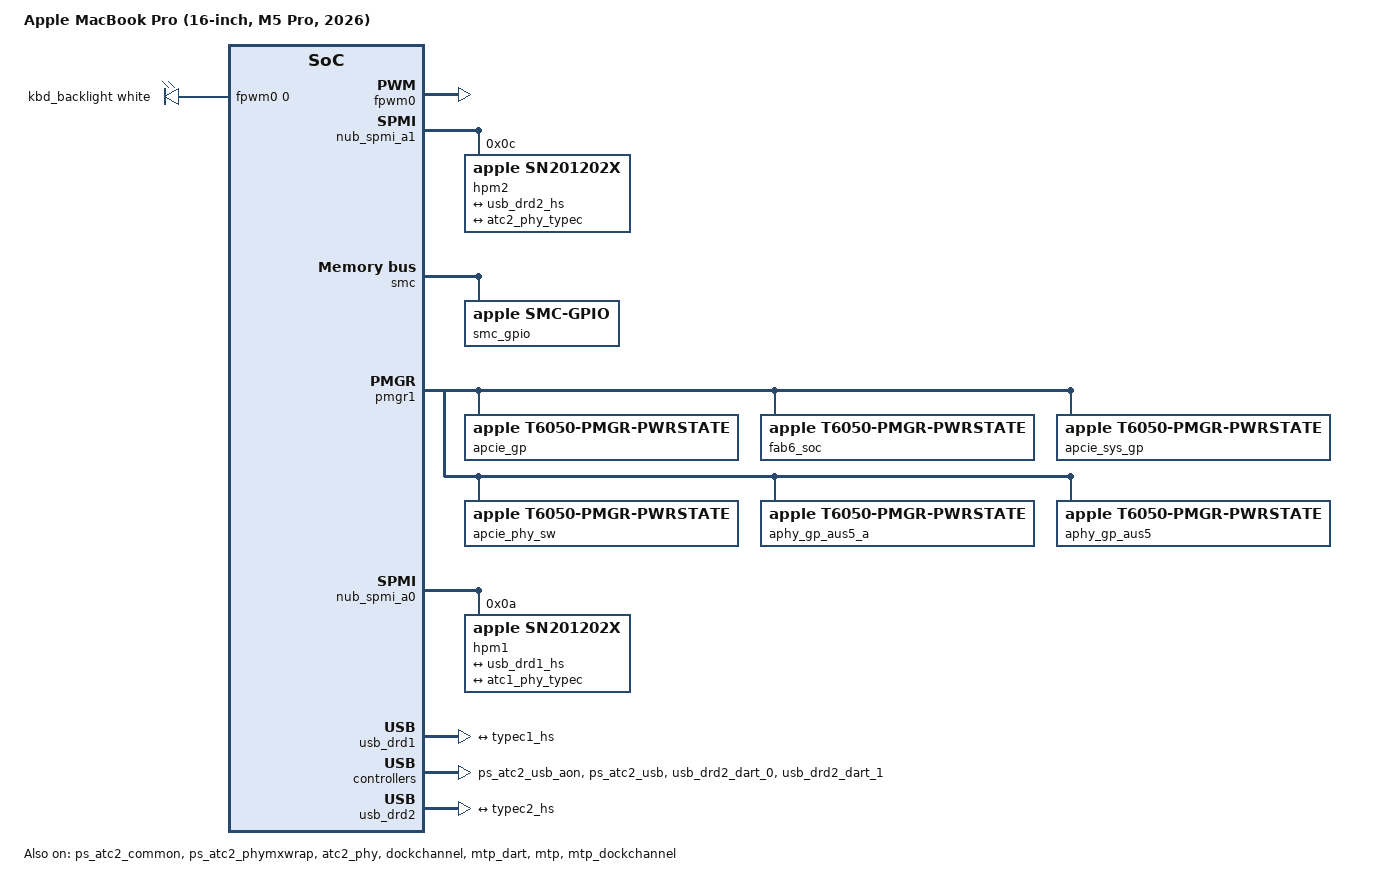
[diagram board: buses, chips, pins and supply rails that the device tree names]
// SPDX-License-Identifier: GPL-2.0+ OR MIT
/*
 * MacBook Pro (16-inch, M5 Pro, 2026)
 *
 * target-type: J716s (Mac17,8)
 *
 * The M5 Pro is one T6050 die, die 0 (t6050-max.dtsi), as on the J716c. The
 * ADT lists all 18 CPUs in the order t6050-max.dtsi uses; the boot loader
 * removes any core it did not start. This file enables and configures what
 * has been brought up on this board; the SoC's other ports and buses stay
 * disabled until each is described for it.
 *
 * Copyright The Asahi Linux Contributors
 */

/dts-v1/;

#include <dt-bindings/leds/common.h>
#include "t6050-max.dtsi"

/ {
	compatible = "apple,j716s", "apple,t6050", "apple,arm-platform";
	model = "Apple MacBook Pro (16-inch, M5 Pro, 2026)";
	chassis-type = "laptop";

	aliases {
		serial0 = &dockchannel;
		/* The loader fills the N1's factory addresses through these */
		wifi0 = &n1_alpha;
		bluetooth0 = &n1_beta;
		/* The loader fills the keyboard layout from the ADT's keyboard node */
		keyboard = &keyboard;
	};

	chosen {
		#address-cells = <2>;
		#size-cells = <2>;
		ranges;

		framebuffer0: framebuffer@0 {
			compatible = "apple,simple-framebuffer", "simple-framebuffer";
			reg = <0 0 0 0>; /* To be filled by the loader */
			/* Format properties will be added by the loader */
			status = "disabled";
		};
	};

	/* Keyboard backlight: ADT pwm0/kbd-backlight, channel 0 at 25 kHz */
	led-controller {
		compatible = "pwm-leds";

		led-0 {
			pwms = <&fpwm0 0 40000>;
			label = "kbd_backlight";
			function = LED_FUNCTION_KBD_BACKLIGHT;
			color = <LED_COLOR_ID_WHITE>;
			max-brightness = <255>;
			default-state = "keep";
		};
	};
};

/* The keyboard backlight PWM (ADT pwm0) */
&fpwm0 {
	status = "okay";
};

/* A block t6050-die0.dtsi does not describe yet: the third HPM bus */
&die0 {
	/*
	 * ADT nub-spmi-a1, the right-hand port's HPM bus (hpm2). Polled like a0:
	 * the generation 4 driver takes no interrupt. pmgr NUB_SPMI_A1 is
	 * critical, as NUB_SPMI_A0, so no power-domains.
	 */
	nub_spmi_a1: spmi@28a1a8000 {
		compatible = "apple,t6050-spmi", "apple,t8142-spmi";
		reg = <0x2 0x8a1a8000 0x0 0x4000>;
		#address-cells = <2>;
		#size-cells = <0>;
	};
};

/*
 * PCIe port 0: the N1 (Wi-Fi and Bluetooth). Port 1 is the SD reader, not yet
 * described. The registers, interrupt, DART streams and PERST# pin are the
 * J716c's: the J716s ADT has the same port. Port 0 and its DART stay disabled
 * until the boot loader enables them: once it trained the port, or with the
 * port down because the kernel can train it (port00 names the N1's power
 * line, the DART waits for its root complex). The kernel's train uses the
 * shared PHY (ADT reg[3]), its common block (reg[2] + 0x4000) and the windows
 * of the host tunable lists the boot loader copies from the ADT: axi2af
 * (reg[5]), pcieclkgen (reg[6]), phy-window (reg[2]) and phy-ip (reg[4]),
 * the same as the J714c's; the PHY and axi2af windows are cut to what their
 * lists reach.
 */
&pcie0 {
	reg = <0x1c 0xb0000000 0x0 0x10000000>,
	      <0x4 0x14000000 0x0 0x4000>,
	      <0x4 0x10028000 0x0 0x8000>,
	      <0x4 0x17010000 0x0 0x4000>,
	      <0x4 0x10024000 0x0 0x4000>,
	      <0x4 0x17020000 0x0 0x4000>,
	      <0x4 0x17004000 0x0 0x4000>,
	      <0x4 0x16000000 0x0 0x24000>,
	      <0x4 0x15044000 0x0 0x4000>,
	      <0x4 0x17000000 0x0 0x24000>,
	      <0x4 0x17800000 0x0 0x1b4000>;
	reg-names = "config", "rc", "port0", "phy0", "intr2axi0",
		    "phy-shared", "phy-common", "axi2af", "pcieclkgen",
		    "phy-window", "phy-ip";
	interrupts = <AIC_IRQ 0 1523 IRQ_TYPE_LEVEL_HIGH>;
	interrupt-names = "port0";

	/* The N1's three functions are on DART streams 1-3 */
	iommu-map = <0x100 &dart_apcie0 1 3>;
	bus-range = <0 4>;
	/*
	 * dart_apcie0 probes only once this host has the port up: fw_devlink
	 * must not make the host wait for it (strict mode enforces iommu-map)
	 */
	post-init-providers = <&dart_apcie0>;

	port00: pci@0,0 {
		device_type = "pci";
		reg = <0x0 0 0 0 0>;
		bus-range = <1 1>;
		/* The N1's power: ADT pci-bridge0 function-reset, gP13 */
		pwren-gpios = <&smc_gpio 0x13 GPIO_ACTIVE_HIGH>;
		/* PERST#: ADT pci-bridge0 function-perst, GPIO 80 */
		reset-gpios = <&pinctrl_ap 80 GPIO_ACTIVE_LOW>;
		apple,link-trained-by-bootloader;
		status = "disabled";

		#address-cells = <3>;
		#size-cells = <2>;
		ranges;

		interrupt-controller;
		#interrupt-cells = <1>;
		interrupt-map-mask = <0 0 0 7>;
		interrupt-map = <0 0 0 1 &port00 0 0 0 0>,
				<0 0 0 2 &port00 0 0 0 1>,
				<0 0 0 3 &port00 0 0 0 2>,
				<0 0 0 4 &port00 0 0 0 3>;

		/* platform ID (board 0x0c << 16) | chip 0x6050 */
		n1_control: control@0,0 {
			compatible = "pci106b,1900";
			reg = <0x10000 0x0 0x0 0x0 0x0>;
			firmware-name = "apple/centauri/j716s-ftab.bin";
			apple,centauri-platform-id = <0x000c6050>;
			apple,centauri-protocol = <27>;
		};

		n1_alpha: wifi@0,1 {
			compatible = "pci106b,1902";
			reg = <0x10100 0x0 0x0 0x0 0x0>;
			local-mac-address = [00 00 00 00 00 00];
		};

		n1_beta: bluetooth@0,2 {
			compatible = "pci106b,1903";
			reg = <0x10200 0x0 0x0 0x0 0x0>;
			local-bd-address = [00 00 00 00 00 00];
		};
	};
};

/* It answers only once port 0's root complex is up: pcie-apple then enables it */
&dart_apcie0 {
	apple,manual-availability;
};

/*
 * Nothing here drives the SMC pcIO outputs (apple,smc-pcio-gpio), and the AFE
 * reset above uses gp1c, so the node goes. This board's templates,
 * pKW8('pcIO', lo, hi) as (hi << 32) | lo, are the J716c's:
 *   0 dp2hdmi_pwr_en (0x0, 0x1a0000)
 *   1 hdmi_pwr_en    (0x800000, 0xf0000)
 *   2 afe-reset      (0x10000, 0x11c0000)
 */
/delete-node/ &smc_pcio;

/*
 * The SMC's first GPIO bank, the gP keys: the N1's power line is gP13.
 * gpio-macsmc drives it with the line's ADT template, pKW4("gP13",
 * 0x00800000): 0x00800000 | level, as m1n1 does.
 */
&smc {
	smc_gpio: gpio {
		compatible = "apple,smc-gpio";
		#gpio-cells = <2>;
		gpio-controller;
	};
};

/*
 * The power of the N1's port. iBoot leaves APCIE_SYS_GP, APCIE_PHY_SW and
 * APHY_GP_AUS5 in automatic power management with the block gated (boot
 * state 0x1000030f, 0x1400024f, 0x1000030f); the train needs them on and
 * staying on, as m1n1 raises them (target active, auto-PM off). Always on:
 * the port's link is kept through suspend-to-idle, and the host has no
 * power domain of its own. Parents as the ADT names them, the
 * register-less APCIE_SYS_GE left out. ADT pmgr devices APCIE_GP +0x118,
 * FAB6_SOC +0x138, APCIE_SYS_GP +0x148, APCIE_PHY_SW +0x1b0,
 * APHY_GP_AUS5_A +0x258, APHY_GP_AUS5 +0x280 (group 1).
 */
&pmgr1 {
	ps_apcie_gp: power-controller@118 {
		compatible = "apple,t6050-pmgr-pwrstate", "apple,t8103-pmgr-pwrstate";
		reg = <0x118 4>;
		label = "apcie_gp";
		#power-domain-cells = <0>;
		#reset-cells = <0>;
		apple,always-on;
	};

	ps_fab6_soc: power-controller@138 {
		compatible = "apple,t6050-pmgr-pwrstate", "apple,t8103-pmgr-pwrstate";
		reg = <0x138 4>;
		label = "fab6_soc";
		#power-domain-cells = <0>;
		#reset-cells = <0>;
		apple,always-on;
	};

	ps_apcie_sys_gp: power-controller@148 {
		compatible = "apple,t6050-pmgr-pwrstate", "apple,t8103-pmgr-pwrstate";
		reg = <0x148 4>;
		label = "apcie_sys_gp";
		power-domains = <&ps_apcie_gp>, <&ps_fab6_soc>;
		#power-domain-cells = <0>;
		#reset-cells = <0>;
		apple,always-on;
		apple,no-auto-pm;
	};

	ps_apcie_phy_sw: power-controller@1b0 {
		compatible = "apple,t6050-pmgr-pwrstate", "apple,t8103-pmgr-pwrstate";
		reg = <0x1b0 4>;
		label = "apcie_phy_sw";
		power-domains = <&ps_apcie_sys_gp>;
		#power-domain-cells = <0>;
		#reset-cells = <0>;
		apple,always-on;
		apple,no-auto-pm;
	};

	ps_aphy_gp_aus5_a: power-controller@258 {
		compatible = "apple,t6050-pmgr-pwrstate", "apple,t8103-pmgr-pwrstate";
		reg = <0x258 4>;
		label = "aphy_gp_aus5_a";
		power-domains = <&ps_apcie_phy_sw>;
		#power-domain-cells = <0>;
		#reset-cells = <0>;
		apple,always-on;
	};

	power-controller@280 {
		compatible = "apple,t6050-pmgr-pwrstate", "apple,t8103-pmgr-pwrstate";
		reg = <0x280 4>;
		label = "aphy_gp_aus5";
		power-domains = <&ps_aphy_gp_aus5_a>;
		#power-domain-cells = <0>;
		#reset-cells = <0>;
		apple,always-on;
		apple,no-auto-pm;
	};
};

/*
 * Type-C, from the ADT:
 *   ATC0 usb-drd0 left-back  hpm0 nub-spmi-a0 0x0c (the debug port, not described)
 *   ATC1 usb-drd1 left-front hpm1 nub-spmi-a0 0x0a
 *   ATC2 usb-drd2 right      hpm2 nub-spmi-a1 0x0c
 *   MagSafe                  hpm5 nub-spmi-a0 0x08 (not a USB-C connector)
 * There is no usb-drd3 and no nub-spmi-a2, so ATC3's USB chain and that bus
 * stay off.
 */
&atc3_phy_mbox {
	status = "disabled";
};

&atc3_phy {
	status = "disabled";
};

&usb_drd3 {
	status = "disabled";
};

&usb_drd3_dart_0 {
	status = "disabled";
};

&usb_drd3_dart_1 {
	status = "disabled";
};

&nub_spmi_a2 {
	status = "disabled";
};

/*
 * Left-front port (ATC1): the SN201202x hpm1, polled, and the connector
 * graph into usb_drd1 (USB2) and the combo PHY (SuperSpeed), in the shape of
 * t8142-j813-usb.dtsi. USB3 needs the PHY tunables the loader fills.
 */
&nub_spmi_a0 {
	hpm1: usb-pd@a {
		compatible = "apple,sn201202x";
		reg = <0xa SPMI_USID>;

		typec1: connector {
			compatible = "usb-c-connector";
			label = "USB-C Left-front";
			power-role = "dual";
			data-role = "dual";

			ports {
				#address-cells = <1>;
				#size-cells = <0>;

				port@0 {
					reg = <0>;
					typec1_hs: endpoint {
						remote-endpoint = <&usb_drd1_hs>;
					};
				};

				port@1 {
					reg = <1>;
					typec1_ss: endpoint {
						remote-endpoint = <&atc1_phy_typec>;
					};
				};
			};
		};
	};
};

&usb_drd1 {
	port {
		usb_drd1_hs: endpoint {
			remote-endpoint = <&typec1_hs>;
		};
	};
};

&atc1_phy {
	port {
		atc1_phy_typec: endpoint {
			remote-endpoint = <&typec1_ss>;
		};
	};
};

/*
 * Right port (ATC2), the same chain: the SN201202x hpm2 on nub_spmi_a1,
 * polled, and the connector graph into usb_drd2 and the combo PHY. Only the
 * USB route: dcpext0's DisplayPort route through ATC2 (atc2_xbar, the PHY's
 * DP lane, the connector's DP port) stays off. The addresses, interrupts and
 * power states in t6050-die0.dtsi match this board's ADT (atc-phy2,
 * acio-phy-cpu2, usb-drd2, dart-usb2, pmgr ATC2_*). The boot loader puts
 * hpm2 in S0, parks the PIPE and fills the PHY's tunables.
 */
&nub_spmi_a1 {
	hpm2: usb-pd@c {
		compatible = "apple,sn201202x";
		reg = <0xc SPMI_USID>;

		typec2: connector {
			compatible = "usb-c-connector";
			label = "USB-C Right";
			power-role = "dual";
			data-role = "dual";

			ports {
				#address-cells = <1>;
				#size-cells = <0>;

				port@0 {
					reg = <0>;
					typec2_hs: endpoint {
						remote-endpoint = <&usb_drd2_hs>;
					};
				};

				port@1 {
					reg = <1>;
					typec2_ss: endpoint {
						remote-endpoint = <&atc2_phy_typec>;
					};
				};
			};
		};
	};
};

&ps_atc2_common {
	status = "okay";
};

&ps_atc2_usb_aon {
	status = "okay";
};

&ps_atc2_phymxwrap {
	status = "okay";
};

&ps_atc2_usb {
	status = "okay";
};

&atc2_phy_mbox {
	status = "okay";
};

&atc2_phy {
	status = "okay";

	port {
		atc2_phy_typec: endpoint {
			remote-endpoint = <&typec2_ss>;
		};
	};
};

&usb_drd2 {
	status = "okay";

	port {
		usb_drd2_hs: endpoint {
			remote-endpoint = <&typec2_hs>;
		};
	};
};

&usb_drd2_dart_0 {
	status = "okay";
};

&usb_drd2_dart_1 {
	status = "okay";
};

/* Audio is not brought up: six sn012776 on i2c1/i2c3 and a cs42l84 on i2c2 */
&i2c1 {
	status = "disabled";
};

&i2c2 {
	status = "disabled";
};

/*
 * Pin 112 takes an SError when read (as on the J716c), so only the pins a node
 * here names are exposed: 80 (PCIe port 0's PERST#).
 */
&pinctrl_ap {
	gpio-reserved-ranges = <0 80>, <81 140>;
};

/*
 * SMC sensors: the shared fan, power, voltage and current keys, plus every
 * readable float T* key through apple,discover-temperatures in
 * t6050-die0.dtsi, labelled with the key name. A key this SMC lacks only
 * drops its channel.
 *
 * Discovery refuses to run once any temperature channel exists, so the
 * shared temperature nodes go (their keys TH0x, TB0T, TCHP and TW0P are
 * discovered anyway), and so does apple,soc-die-keys, whose "SoC die TCMb"
 * channel would also count and fail the probe with -EINVAL. Only the
 * macsmc_soc_die thermal zone is lost; nothing here uses it. The
 * /delete-property/ can go with "hwmon: macsmc: Let discovered temperatures
 * join the SoC die zone".
 */
#include "hwmon-common.dtsi"
#include "hwmon-fan-dual.dtsi"
#include "hwmon-laptop.dtsi"

&smc_hwmon {
	/delete-property/ apple,soc-die-keys;
	/delete-node/ temperature-TH0x;
	/delete-node/ temperature-TB0T;
	/delete-node/ temperature-TCHP;
	/delete-node/ temperature-TW0P;

	/*
	 * The T6050 SMC spells the fan mode keys F0md/F1md, as on the J775D. No
	 * apple,fan-manual-control: the SMC drives the fans.
	 */
	fan-F0Ac {
		apple,fan-mode = "F0md";
	};

	fan-F1Ac {
		apple,fan-mode = "F1md";
	};
};

/*
 * The clusters' DVFS blocks have the T8112 layout (status at +0x50: current
 * p-state in bits 9:5, target in 4:0, read on this board), which
 * apple-soc-cpufreq drives through the T8112 compatible. A driver entry for
 * apple,t6050-cluster-cpufreq matches the first string and takes over.
 */
&cpufreq_mc0 {
	compatible = "apple,t6050-cluster-cpufreq", "apple,t8112-cluster-cpufreq";
};

&cpufreq_mc1 {
	compatible = "apple,t6050-cluster-cpufreq", "apple,t8112-cluster-cpufreq";
};

&cpufreq_pc {
	compatible = "apple,t6050-cluster-cpufreq", "apple,t8112-cluster-cpufreq";
};

/*
 * The console is on the USB debug link, which drains only while a host reads
 * it; the machine also boots with nothing attached there.
 */
&dockchannel {
	apple,tx-never-wait;
	status = "okay";
};

/* The MTP and its DockChannel FIFO, which carry the keyboard and trackpad */
&mtp_mbox {
	status = "okay";
};

&mtp_dart {
	status = "okay";
};

&mtp {
	status = "okay";
};

/* The keyboard and trackpad: the HID transport on the MTP's DockChannel FIFO */
&mtp_dockchannel {
	status = "okay";

	mtp_hid: input@8000 {
		compatible = "apple,dockchannel-hid";
		reg = <0x8000 0x1000>, <0xc000 0x1000>,
		      <0x0 0x1000>, <0x4000 0x1000>;
		reg-names = "config", "data", "rmt-config", "rmt-data";
		iommus = <&mtp_dart 0>;
		interrupt-parent = <&mtp_dockchannel>;
		interrupts = <2 IRQ_TYPE_LEVEL_HIGH>,
			     <3 IRQ_TYPE_LEVEL_HIGH>;
		interrupt-names = "tx", "rx";
		apple,fifo-size = <0x800>;
		apple,helper-cpu = <&mtp>;
		/*
		 * The AFE reset is the SMC pcIO output J716c uses (template 2 below).
		 * The same line is SMC GPIO gp1c, active low, which gpio-macsmc drives.
		 */
		apple,afe-reset-gpios = <&smc_gpio_low 28 GPIO_ACTIVE_LOW>;

		multi-touch {
			apple,power-method = <2>;
			firmware-name = "apple/tpmtfw-j716s.bin";
		};

		keyboard: keyboard {
			hid-country-code = <0>;
			apple,keyboard-layout-id = <0>;
		};

		stm {
		};

		actuator {
		};

		tp-accel {
		};
	};
};

#define T6050_J716S
#include "t6050-peripherals.dtsi"
